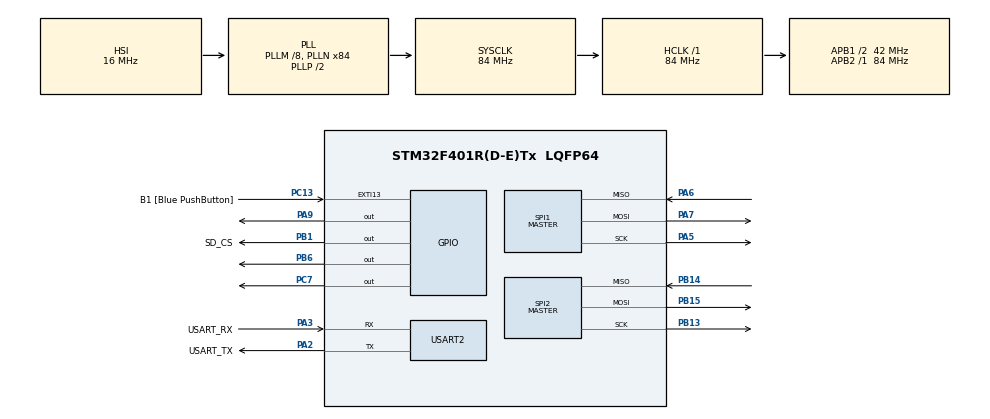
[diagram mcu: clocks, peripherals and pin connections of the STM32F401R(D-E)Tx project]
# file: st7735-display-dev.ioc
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Dma.Request0=SPI2_RX
Dma.Request1=SPI2_TX
Dma.Request2=SPI1_TX
Dma.SPI1_TX.2.Direction=DMA_MEMORY_TO_PERIPH
Dma.SPI1_TX.2.FIFOMode=DMA_FIFOMODE_DISABLE
Dma.SPI1_TX.2.Instance=DMA2_Stream3
Dma.SPI1_TX.2.MemDataAlignment=DMA_MDATAALIGN_BYTE
Dma.SPI1_TX.2.MemInc=DMA_MINC_ENABLE
Dma.SPI1_TX.2.Mode=DMA_NORMAL
Dma.SPI1_TX.2.PeriphDataAlignment=DMA_PDATAALIGN_BYTE
Dma.SPI1_TX.2.PeriphInc=DMA_PINC_DISABLE
Dma.SPI1_TX.2.Priority=DMA_PRIORITY_HIGH
Dma.SPI2_RX.0.Direction=DMA_PERIPH_TO_MEMORY
Dma.SPI2_RX.0.FIFOMode=DMA_FIFOMODE_DISABLE
Dma.SPI2_RX.0.Instance=DMA1_Stream3
Dma.SPI2_RX.0.MemDataAlignment=DMA_MDATAALIGN_BYTE
Dma.SPI2_RX.0.MemInc=DMA_MINC_ENABLE
Dma.SPI2_RX.0.Mode=DMA_NORMAL
Dma.SPI2_RX.0.PeriphDataAlignment=DMA_PDATAALIGN_BYTE
Dma.SPI2_RX.0.PeriphInc=DMA_PINC_DISABLE
Dma.SPI2_RX.0.Priority=DMA_PRIORITY_HIGH
Dma.SPI2_TX.1.Direction=DMA_MEMORY_TO_PERIPH
Dma.SPI2_TX.1.FIFOMode=DMA_FIFOMODE_DISABLE
Dma.SPI2_TX.1.Instance=DMA1_Stream4
Dma.SPI2_TX.1.MemDataAlignment=DMA_MDATAALIGN_BYTE
Dma.SPI2_TX.1.MemInc=DMA_MINC_ENABLE
Dma.SPI2_TX.1.Mode=DMA_NORMAL
Dma.SPI2_TX.1.PeriphDataAlignment=DMA_PDATAALIGN_BYTE
Dma.SPI2_TX.1.PeriphInc=DMA_PINC_DISABLE
Dma.SPI2_TX.1.Priority=DMA_PRIORITY_HIGH
FATFS._MAX_SS=512
FATFS._USE_LFN=0
Mcu.Family=STM32F4
Mcu.Name=STM32F401R(D-E)Tx
Mcu.Package=LQFP64
NVIC.DMA1_Stream3_IRQn=true\:0\:0\:false\:false\:true\:false\:true\:true
NVIC.DMA1_Stream4_IRQn=true\:0\:0\:false\:false\:true\:false\:true\:true
NVIC.DMA2_Stream3_IRQn=true\:0\:0\:false\:false\:true\:false\:true\:true
NVIC.PriorityGroup=NVIC_PRIORITYGROUP_0
PA13.GPIO_Label=TMS
PA13.Mode=Serial_Wire
PA13.Signal=SYS_JTMS-SWDIO
PA14.GPIO_Label=TCK
PA14.Mode=Serial_Wire
PA14.Signal=SYS_JTCK-SWCLK
PA2.GPIO_Label=USART_TX
PA2.GPIO_Mode=GPIO_MODE_AF_PP
PA2.GPIO_PuPd=GPIO_NOPULL
PA2.GPIO_Speed=GPIO_SPEED_FREQ_LOW
PA2.Mode=Asynchronous
PA2.Signal=USART2_TX
PA3.GPIO_Label=USART_RX
PA3.GPIO_Mode=GPIO_MODE_AF_PP
PA3.GPIO_PuPd=GPIO_NOPULL
PA3.GPIO_Speed=GPIO_SPEED_FREQ_LOW
PA3.Mode=Asynchronous
PA3.Signal=USART2_RX
PA5.GPIO_PuPd=GPIO_PULLUP
PA5.Mode=Full_Duplex_Master
PA5.Signal=SPI1_SCK
PA6.GPIO_PuPd=GPIO_PULLUP
PA6.Mode=Full_Duplex_Master
PA6.Signal=SPI1_MISO
PA7.GPIO_PuPd=GPIO_PULLUP
PA7.Mode=Full_Duplex_Master
PA7.Signal=SPI1_MOSI
PA9.GPIO_PuPd=GPIO_PULLUP
PA9.Signal=GPIO_Output
PB1.GPIO_Label=SD_CS
PB1.GPIO_PuPd=GPIO_PULLUP
PB1.Signal=GPIO_Output
PB13.GPIO_PuPd=GPIO_PULLUP
PB13.Mode=Full_Duplex_Master
PB13.Signal=SPI2_SCK
PB14.GPIO_PuPd=GPIO_PULLUP
PB14.Mode=Full_Duplex_Master
PB14.Signal=SPI2_MISO
PB15.GPIO_PuPd=GPIO_PULLUP
PB15.Mode=Full_Duplex_Master
PB15.Signal=SPI2_MOSI
PB3.GPIO_Label=SWO
PB3.Signal=SYS_JTDO-SWO
PB6.GPIO_PuPd=GPIO_PULLUP
PB6.Signal=GPIO_Output
PC13-ANTI_TAMP.GPIO_Label=B1 [Blue PushButton]
PC13-ANTI_TAMP.GPIO_ModeDefaultEXTI=GPIO_MODE_IT_FALLING
PC13-ANTI_TAMP.GPIO_PuPd=GPIO_PULLUP
PC13-ANTI_TAMP.Signal=GPXTI13
PC14-OSC32_IN.Mode=LSE-External-Oscillator
PC14-OSC32_IN.Signal=RCC_OSC32_IN
PC15-OSC32_OUT.Mode=LSE-External-Oscillator
PC15-OSC32_OUT.Signal=RCC_OSC32_OUT
PC7.GPIO_PuPd=GPIO_PULLUP
PC7.Signal=GPIO_Output
PH0\ -\ OSC_IN.Mode=HSE-External-Clock-Source
PH0\ -\ OSC_IN.Signal=RCC_OSC_IN
PH1\ -\ OSC_OUT.Mode=HSE-External-Clock-Source
PH1\ -\ OSC_OUT.Signal=RCC_OSC_OUT
ProjectManager.HeapSize=0x200
ProjectManager.StackSize=0x400
ProjectManager.TargetToolchain=CMake
RCC.48MHZClocksFreq_Value=24000000
RCC.AHBFreq_Value=84000000
RCC.APB1CLKDivider=RCC_HCLK_DIV2
RCC.APB1Freq_Value=42000000
RCC.APB1TimFreq_Value=84000000
RCC.APB2Freq_Value=84000000
RCC.APB2TimFreq_Value=84000000
RCC.CortexFreq_Value=84000000
RCC.HCLKFreq_Value=84000000
RCC.HSE_VALUE=8000000
RCC.HSI_VALUE=16000000
RCC.PLLM=8
RCC.PLLN=84
RCC.PLLQ=7
RCC.SYSCLKFreq_VALUE=84000000
RCC.SYSCLKSource=RCC_SYSCLKSOURCE_PLLCLK
RCC.VCOOutputFreq_Value=168000000
SPI1.Direction=SPI_DIRECTION_2LINES
SPI1.Mode=SPI_MODE_MASTER
SPI1.VirtualType=VM_MASTER
SPI2.BaudRatePrescaler=SPI_BAUDRATEPRESCALER_256
SPI2.Direction=SPI_DIRECTION_2LINES
SPI2.Mode=SPI_MODE_MASTER
SPI2.VirtualType=VM_MASTER
USART2.VirtualMode=VM_ASYNC
VP_FATFS_VS_Generic.Mode=User_defined
board=NUCLEO-F401RE

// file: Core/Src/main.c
/* USER CODE BEGIN Header */
/**
 ******************************************************************************
 * @file           : main.c
 * @brief          : Main program body
 ******************************************************************************
 * @attention
 *
 * Copyright (c) 2025 STMicroelectronics.
 * All rights reserved.
 *
 * This software is licensed under terms that can be found in the LICENSE file
 * in the root directory of this software component.
 * If no LICENSE file comes with this software, it is provided AS-IS.
 *
 ******************************************************************************
 */
/* USER CODE END Header */
#include "main.h"
#include "fatfs.h"

/* USER CODE BEGIN Includes */
#include "st7735.h"
#include "fonts.h"
#include "sd_playback.h"
#include "utils.h"
// #include "testimg.h"

/* USER CODE END Includes */

SPI_HandleTypeDef hspi1;
SPI_HandleTypeDef hspi2;
DMA_HandleTypeDef hdma_spi1_tx;
DMA_HandleTypeDef hdma_spi2_rx;
DMA_HandleTypeDef hdma_spi2_tx;

UART_HandleTypeDef huart2;

void SystemClock_Config(void);
static void MX_GPIO_Init(void);
static void MX_DMA_Init(void);
static void MX_SPI1_Init(void);
static void MX_USART2_UART_Init(void);
static void MX_SPI2_Init(void);

/* USER CODE BEGIN 0 */

void init() {
    ST7735_Init();

    ST7735_FillScreenFast(ST7735_BLACK);
    HAL_Delay(1000);

    const char ready[] = "UART Initialized\r\n";
    HAL_UART_Transmit(&huart2, (uint8_t *)ready, sizeof(ready) - 1, HAL_MAX_DELAY);

    FRESULT res = SDPlayback_Begin();
    if(res != FR_OK)
      myprintf("Error occurred during video playback");

    SDPlayback_Unmount();
}

void loop() {
    // ST7735_DrawImage(0, 0, 128, 128, test_img_128x128);
    // ST7735_WriteString(10, 140, "<3 aquila", Font_11x18, ST7735_RED,
    //                    ST7735_BLACK);
    // HAL_Delay(200);
}

/* USER CODE END 0 */

int main(void)
{

  /* MCU Configuration--------------------------------------------------------*/

  /* Reset of all peripherals, Initializes the Flash interface and the Systick. */
  HAL_Init();

  /* Configure the system clock */
  SystemClock_Config();

  /* Initialize all configured peripherals */
  MX_GPIO_Init();
  MX_DMA_Init();
  MX_SPI1_Init();
  MX_USART2_UART_Init();
  MX_SPI2_Init();
  MX_FATFS_Init();
  /* USER CODE BEGIN 2 */
  init();

  /* USER CODE END 2 */

  /* Infinite loop */
  while (1) {

    /* USER CODE BEGIN 3 */
        // loop();
  }
  /* USER CODE END 3 */
}

void SystemClock_Config(void)
{
  RCC_OscInitTypeDef RCC_OscInitStruct = {0};
  RCC_ClkInitTypeDef RCC_ClkInitStruct = {0};

  /** Configure the main internal regulator output voltage
  */
  __HAL_RCC_PWR_CLK_ENABLE();
  __HAL_PWR_VOLTAGESCALING_CONFIG(PWR_REGULATOR_VOLTAGE_SCALE2);

  /** Initializes the RCC Oscillators according to the specified parameters
  * in the RCC_OscInitTypeDef structure.
  */
  RCC_OscInitStruct.OscillatorType = RCC_OSCILLATORTYPE_HSI;
  RCC_OscInitStruct.HSIState = RCC_HSI_ON;
  RCC_OscInitStruct.HSICalibrationValue = RCC_HSICALIBRATION_DEFAULT;
  RCC_OscInitStruct.PLL.PLLState = RCC_PLL_ON;
  RCC_OscInitStruct.PLL.PLLSource = RCC_PLLSOURCE_HSI;
  RCC_OscInitStruct.PLL.PLLM = 8;
  RCC_OscInitStruct.PLL.PLLN = 84;
  RCC_OscInitStruct.PLL.PLLP = RCC_PLLP_DIV2;
  RCC_OscInitStruct.PLL.PLLQ = 7;
  if (HAL_RCC_OscConfig(&RCC_OscInitStruct) != HAL_OK)
  {
    Error_Handler();
  }

  /** Initializes the CPU, AHB and APB buses clocks
  */
  RCC_ClkInitStruct.ClockType = RCC_CLOCKTYPE_HCLK|RCC_CLOCKTYPE_SYSCLK
                              |RCC_CLOCKTYPE_PCLK1|RCC_CLOCKTYPE_PCLK2;
  RCC_ClkInitStruct.SYSCLKSource = RCC_SYSCLKSOURCE_PLLCLK;
  RCC_ClkInitStruct.AHBCLKDivider = RCC_SYSCLK_DIV1;
  RCC_ClkInitStruct.APB1CLKDivider = RCC_HCLK_DIV2;
  RCC_ClkInitStruct.APB2CLKDivider = RCC_HCLK_DIV1;

  if (HAL_RCC_ClockConfig(&RCC_ClkInitStruct, FLASH_LATENCY_2) != HAL_OK)
  {
    Error_Handler();
  }
}

static void MX_SPI1_Init(void)
{

  /* SPI1 parameter configuration*/
  hspi1.Instance = SPI1;
  hspi1.Init.Mode = SPI_MODE_MASTER;
  hspi1.Init.Direction = SPI_DIRECTION_2LINES;
  hspi1.Init.DataSize = SPI_DATASIZE_8BIT;
  hspi1.Init.CLKPolarity = SPI_POLARITY_LOW;
  hspi1.Init.CLKPhase = SPI_PHASE_1EDGE;
  hspi1.Init.NSS = SPI_NSS_SOFT;
  hspi1.Init.BaudRatePrescaler = SPI_BAUDRATEPRESCALER_2;
  hspi1.Init.FirstBit = SPI_FIRSTBIT_MSB;
  hspi1.Init.TIMode = SPI_TIMODE_DISABLE;
  hspi1.Init.CRCCalculation = SPI_CRCCALCULATION_DISABLE;
  hspi1.Init.CRCPolynomial = 10;
  if (HAL_SPI_Init(&hspi1) != HAL_OK)
  {
    Error_Handler();
  }

}

static void MX_SPI2_Init(void)
{

  /* SPI2 parameter configuration*/
  hspi2.Instance = SPI2;
  hspi2.Init.Mode = SPI_MODE_MASTER;
  hspi2.Init.Direction = SPI_DIRECTION_2LINES;
  hspi2.Init.DataSize = SPI_DATASIZE_8BIT;
  hspi2.Init.CLKPolarity = SPI_POLARITY_LOW;
  hspi2.Init.CLKPhase = SPI_PHASE_1EDGE;
  hspi2.Init.NSS = SPI_NSS_SOFT;
  hspi2.Init.BaudRatePrescaler = SPI_BAUDRATEPRESCALER_256;
  hspi2.Init.FirstBit = SPI_FIRSTBIT_MSB;
  hspi2.Init.TIMode = SPI_TIMODE_DISABLE;
  hspi2.Init.CRCCalculation = SPI_CRCCALCULATION_DISABLE;
  hspi2.Init.CRCPolynomial = 10;
  if (HAL_SPI_Init(&hspi2) != HAL_OK)
  {
    Error_Handler();
  }

}

static void MX_USART2_UART_Init(void)
{

  huart2.Instance = USART2;
  huart2.Init.BaudRate = 115200;
  huart2.Init.WordLength = UART_WORDLENGTH_8B;
  huart2.Init.StopBits = UART_STOPBITS_1;
  huart2.Init.Parity = UART_PARITY_NONE;
  huart2.Init.Mode = UART_MODE_TX_RX;
  huart2.Init.HwFlowCtl = UART_HWCONTROL_NONE;
  huart2.Init.OverSampling = UART_OVERSAMPLING_16;
  if (HAL_UART_Init(&huart2) != HAL_OK)
  {
    Error_Handler();
  }

}

static void MX_DMA_Init(void)
{

  /* DMA controller clock enable */
  __HAL_RCC_DMA1_CLK_ENABLE();
  __HAL_RCC_DMA2_CLK_ENABLE();

  /* DMA interrupt init */
  /* DMA1_Stream3_IRQn interrupt configuration */
  HAL_NVIC_SetPriority(DMA1_Stream3_IRQn, 0, 0);
  HAL_NVIC_EnableIRQ(DMA1_Stream3_IRQn);
  /* DMA1_Stream4_IRQn interrupt configuration */
  HAL_NVIC_SetPriority(DMA1_Stream4_IRQn, 0, 0);
  HAL_NVIC_EnableIRQ(DMA1_Stream4_IRQn);
  /* DMA2_Stream3_IRQn interrupt configuration */
  HAL_NVIC_SetPriority(DMA2_Stream3_IRQn, 0, 0);
  HAL_NVIC_EnableIRQ(DMA2_Stream3_IRQn);

}

static void MX_GPIO_Init(void)
{
  GPIO_InitTypeDef GPIO_InitStruct = {0};

  /* GPIO Ports Clock Enable */
  __HAL_RCC_GPIOC_CLK_ENABLE();
  __HAL_RCC_GPIOH_CLK_ENABLE();
  __HAL_RCC_GPIOA_CLK_ENABLE();
  __HAL_RCC_GPIOB_CLK_ENABLE();

  /*Configure GPIO pin Output Level */
  HAL_GPIO_WritePin(GPIOB, SD_CS_Pin|GPIO_PIN_6, GPIO_PIN_RESET);

  /*Configure GPIO pin Output Level */
  HAL_GPIO_WritePin(GPIOC, GPIO_PIN_7, GPIO_PIN_RESET);

  /*Configure GPIO pin Output Level */
  HAL_GPIO_WritePin(GPIOA, GPIO_PIN_9, GPIO_PIN_RESET);

  /*Configure GPIO pin : B1_Pin */
  GPIO_InitStruct.Pin = B1_Pin;
  GPIO_InitStruct.Mode = GPIO_MODE_IT_FALLING;
  GPIO_InitStruct.Pull = GPIO_PULLUP;
  HAL_GPIO_Init(B1_GPIO_Port, &GPIO_InitStruct);

  /*Configure GPIO pins : SD_CS_Pin PB6 */
  GPIO_InitStruct.Pin = SD_CS_Pin|GPIO_PIN_6;
  GPIO_InitStruct.Mode = GPIO_MODE_OUTPUT_PP;
  GPIO_InitStruct.Pull = GPIO_PULLUP;
  GPIO_InitStruct.Speed = GPIO_SPEED_FREQ_LOW;
  HAL_GPIO_Init(GPIOB, &GPIO_InitStruct);

  /*Configure GPIO pin : PC7 */
  GPIO_InitStruct.Pin = GPIO_PIN_7;
  GPIO_InitStruct.Mode = GPIO_MODE_OUTPUT_PP;
  GPIO_InitStruct.Pull = GPIO_PULLUP;
  GPIO_InitStruct.Speed = GPIO_SPEED_FREQ_LOW;
  HAL_GPIO_Init(GPIOC, &GPIO_InitStruct);

  /*Configure GPIO pin : PA9 */
  GPIO_InitStruct.Pin = GPIO_PIN_9;
  GPIO_InitStruct.Mode = GPIO_MODE_OUTPUT_PP;
  GPIO_InitStruct.Pull = GPIO_PULLUP;
  GPIO_InitStruct.Speed = GPIO_SPEED_FREQ_LOW;
  HAL_GPIO_Init(GPIOA, &GPIO_InitStruct);

}

void Error_Handler(void)
{
  /* USER CODE BEGIN Error_Handler_Debug */
    /* User can add his own implementation to report the HAL error return state
     */
    __disable_irq();
    while (1) {
    }
  /* USER CODE END Error_Handler_Debug */
}

#ifdef  USE_FULL_ASSERT
/**
  * @brief  Reports the name of the source file and the source line number
  *         where the assert_param error has occurred.
  * @param  file: pointer to the source file name
  * @param  line: assert_param error line source number
  * @retval None
  */
void assert_failed(uint8_t *file, uint32_t line)
{
  /* USER CODE BEGIN 6 */
    /* User can add his own implementation to report the file name and line
       number, ex: printf("Wrong parameters value: file %s on line %d\r\n",
       file, line) */
  /* USER CODE END 6 */
}
#endif /* USE_FULL_ASSERT */
